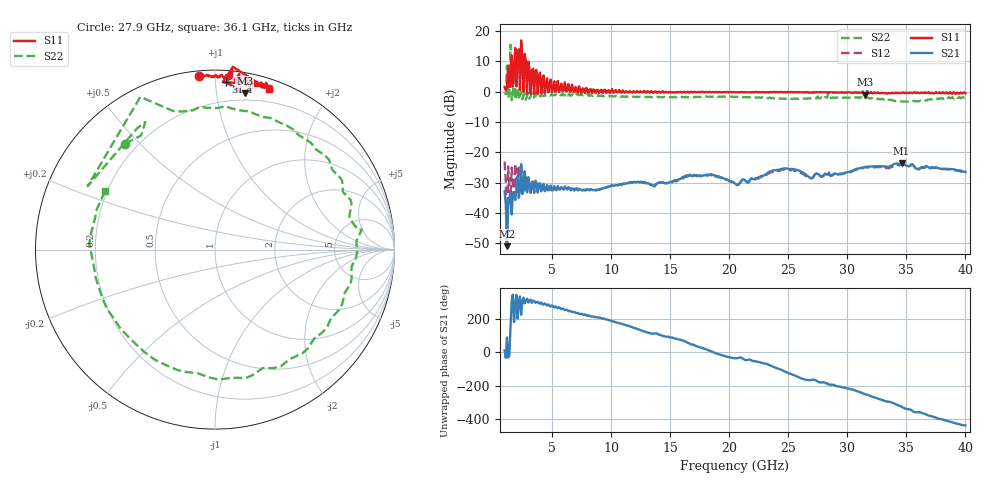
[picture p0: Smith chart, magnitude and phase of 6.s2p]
!Keysight Technologies,N5224A,MY55441802,A.10.65.16
!Date: Wednesday, May 13, 2026 18:47:54
!Correction: S11(Full 2 Port(1,2))
!S21(Full 2 Port(1,2))
!S12(Full 2 Port(1,2))
!S22(Full 2 Port(1,2))
!S2P File: Measurements: S11, S21, S12, S22:
# Hz S  dB  R 50
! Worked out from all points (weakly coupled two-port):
!   391 points, 1 GHz to 40 GHz, reference 50 ohm
!   highest |S21| = -23.61 dB at 34.6 GHz (marker M1); lowest = -51.0 dB at 1.2 GHz (marker M2)
!   lowest |S11| = -1.0 dB at 31.5 GHz (marker M3), VSWR 16.58, Z = 7.38 + j59.9 ohm
!   |S11| at or under -10 dB: nowhere
!   |S22| runs from -3.3 to 15.5 dB; largest |S21 - S12| = 0.049
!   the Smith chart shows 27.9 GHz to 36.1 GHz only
!   S11 on the Smith chart (normalised r, x): 27.9 GHz: 0.03, +0.91; 31.4 GHz: 0.07, +1.07; 36.1 GHz: 0.09, +1.39
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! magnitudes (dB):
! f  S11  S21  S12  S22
! 1 GHz  1.5  -32.9  -23.1  -0.5
! 1.2 GHz  1.2  -51.0  -51.0  8.5
! 1.3 GHz  8.6  -38.3  -24.7  -2.2
! 1.5 GHz  3.3  -33.4  -35.2  15.5
! 1.6 GHz  11.9  -40.5  -25.0  -2.8
! 2.2 GHz  13.9  -35.1  -24.3  -2.7
! 2.3 GHz  0.5  -32.5  -32.8  -1.1
! 2.4 GHz  16.9  -23.9  -24.1  -0.1
! 2.6 GHz  -0.1  -32.8  -32.8  -1.2
! 2.7 GHz  12.4  -26.3  -26.6  -0.7
! 2.9 GHz  -0.6  -33.2  -33.1  -1.4
! 7.5 GHz  -0.5  -32.5  -32.5  -1.1
! 14 GHz  -0.1  -30.1  -30.2  -1.9
! 20.5 GHz  -0.1  -30.3  -30.2  -1.7
! 27 GHz  -0.4  -28.6  -28.7  -2.3
! 27.9 GHz  -0.3  -28.0  -28.0  -2.2
! 31.4 GHz  -0.6  -25.0  -25.1  -1.9
! 31.5 GHz  -1.0  -24.9  -24.8  -1.7
! 33.5 GHz  -0.5  -24.9  -25.4  -2.7
! 34.6 GHz  -0.5  -23.6  -24.0  -3.3
! 36.1 GHz  -0.5  -25.4  -25.6  -3.2
! 40 GHz  -0.5  -26.5  -26.8  -1.8
